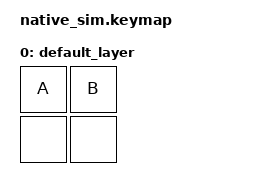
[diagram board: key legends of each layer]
#include <dt-bindings/zmk/keys.h>
#include <behaviors.dtsi>
#include <dt-bindings/zmk/kscan_mock.h>

/ {
    combos {
        compatible = "dax,runtime-combo-defaults";
        combo_one {
            timeout-ms = <30>;
            key-positions = <0 1>;
            bindings = <&kp C>;
        };
        combo_two {
            timeout-ms = <120>;
            key-positions = <0 1 2>;
            bindings = <&kp C>;
        };
    };

    keymap {
        compatible = "zmk,keymap";

        default_layer {
            bindings = <
                &kp A &kp B
                &none &none
            >;
        };
    };
};

&kscan {
    events = <
        ZMK_MOCK_PRESS(0,0,100)
        ZMK_MOCK_PRESS(0,1,10)
        ZMK_MOCK_RELEASE(0,0,10)
        ZMK_MOCK_RELEASE(0,1,10)
    >;
};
